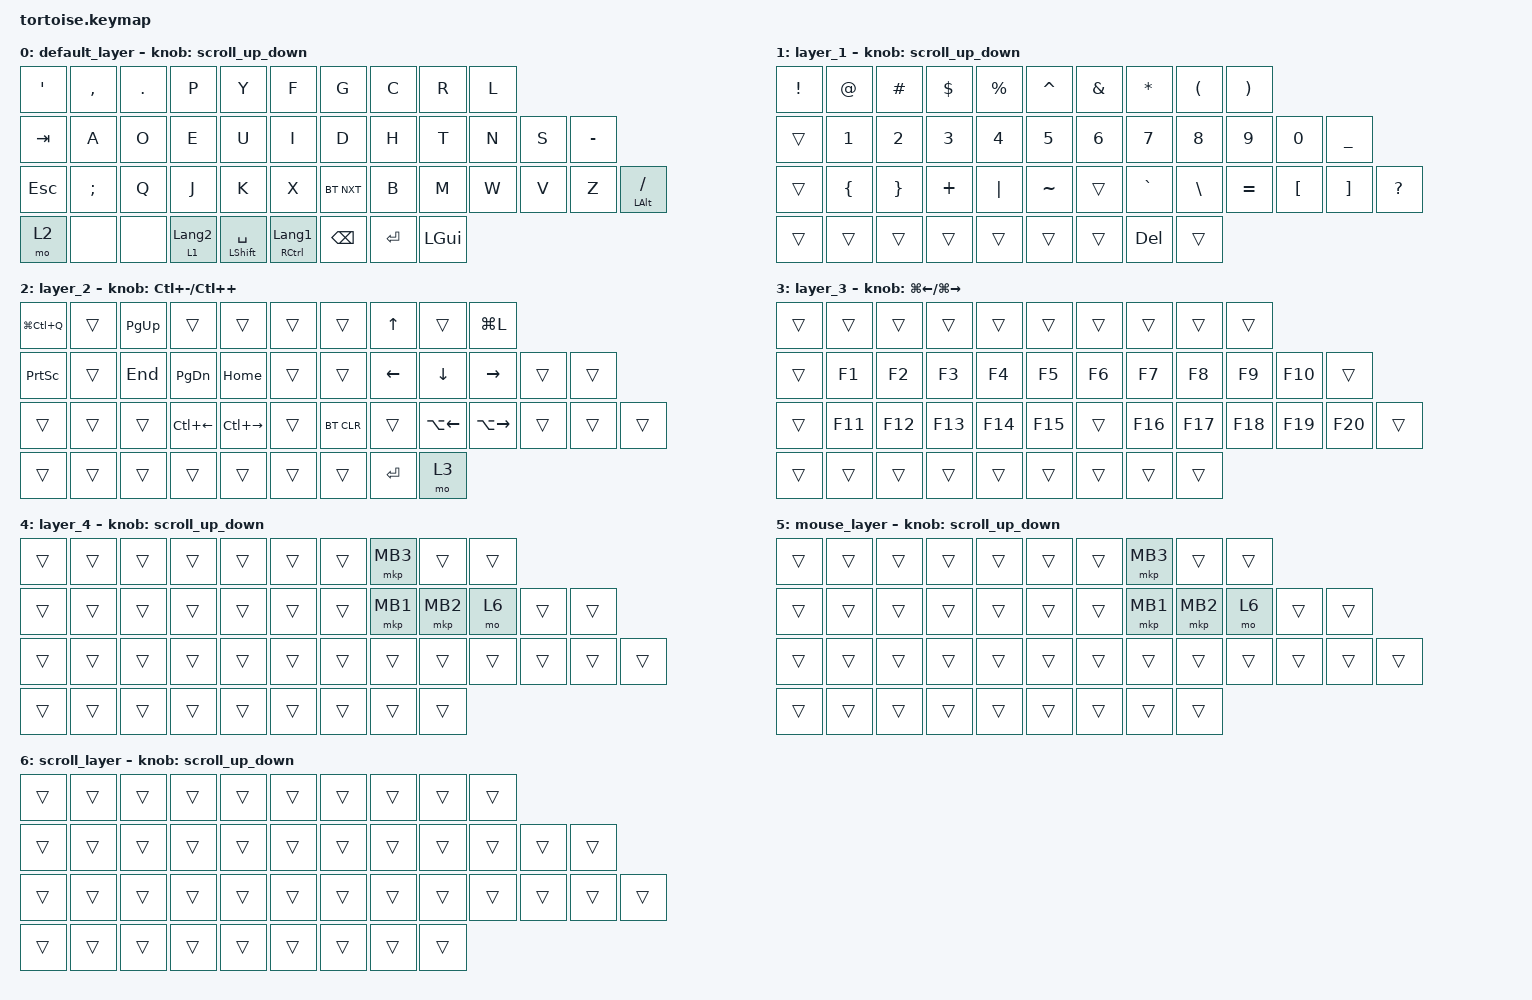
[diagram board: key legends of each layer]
#include <input/processors.dtsi>
#include <dt-bindings/zmk/input_transform.h>
#include <zephyr/dt-bindings/input/input-event-codes.h>
#include <behaviors.dtsi>
#include <dt-bindings/zmk/bt.h>
#include <dt-bindings/zmk/keys.h>
#include <dt-bindings/zmk/pointing.h>

#define ZMK_POINTING_DEFAULT_SCRL_VAL 150
#define ZMK_POINTING_DEFAULT_MOVE_VAL 1000

&mt {
    flavor = "balanced";
    quick-tap-ms = <0>;
};

/ {
    combos { compatible = "zmk,combos"; };

    behaviors {
        scroll_up_down: behavior_sensor_rotate_as_mouse_wheel {
            compatible = "zmk,behavior-sensor-rotate";
            #sensor-binding-cells = <0>;
            bindings = <&msc SCRL_UP>, <&msc SCRL_DOWN>;

            tap-ms = <20>;
        };

        zoom_in_out: behavior_sensor_rotate_as_zoom {
            compatible = "zmk,behavior-sensor-rotate";
            #sensor-binding-cells = <0>;
            bindings = <&kp LC(PLUS)>, <&kp LC(MINUS)>;

            tap-ms = <20>;
        };
    };

    keymap {
        compatible = "zmk,keymap";

        default_layer {
            bindings = <
&kp APOSTROPHE  &kp COMMA      &kp DOT  &kp P             &kp Y                 &kp F                         &kp G          &kp C      &kp R         &kp L
&kp TAB         &kp A          &kp O    &kp E             &kp U                 &kp I                         &kp D          &kp H      &kp T         &kp N  &kp S  &kp MINUS
&kp ESCAPE      &kp SEMICOLON  &kp Q    &kp J             &kp K                 &kp X                         &bt BT_NXT     &kp B      &kp M         &kp W  &kp V  &kp Z      &mt LEFT_ALT SLASH
&mo 2           &none          &none    &lt 1 LANGUAGE_2  &mt LEFT_SHIFT SPACE  &mt RIGHT_CONTROL LANGUAGE_1  &kp BACKSPACE  &kp ENTER  &kp LEFT_GUI
            >;

            sensor-bindings = <&scroll_up_down>;
        };

        layer_1 {
            bindings = <
&kp EXCLAMATION  &kp AT_SIGN     &kp POUND        &kp DOLLAR    &kp PERCENT   &kp CARET     &kp AMPERSAND  &kp ASTERISK  &kp LEFT_PARENTHESIS  &kp RIGHT_PARENTHESIS
&trans           &kp NUMBER_1    &kp NUMBER_2     &kp NUMBER_3  &kp NUMBER_4  &kp NUMBER_5  &kp NUMBER_6   &kp NUMBER_7  &kp NUMBER_8          &kp NUMBER_9           &kp NUMBER_0      &kp UNDERSCORE
&trans           &kp LEFT_BRACE  &kp RIGHT_BRACE  &kp PLUS      &kp PIPE      &kp TILDE     &trans         &kp GRAVE     &kp BACKSLASH         &kp EQUAL              &kp LEFT_BRACKET  &kp RIGHT_BRACKET  &kp QUESTION
&trans           &trans          &trans           &trans        &trans        &trans        &trans         &kp DELETE    &trans
            >;

            sensor-bindings = <&scroll_up_down>;
        };

        layer_2 {
            bindings = <
&kp LG(LC(Q))    &trans  &kp PAGE_UP  &trans              &trans               &trans  &trans      &kp UP_ARROW    &trans              &kp LG(L)
&kp PRINTSCREEN  &trans  &kp END      &kp PAGE_DOWN       &kp HOME             &trans  &trans      &kp LEFT_ARROW  &kp DOWN_ARROW      &kp RIGHT            &trans  &trans
&trans           &trans  &trans       &kp LC(LEFT_ARROW)  &kp LC(RIGHT_ARROW)  &trans  &bt BT_CLR  &trans          &kp LA(LEFT_ARROW)  &kp LA(RIGHT_ARROW)  &trans  &trans  &trans
&trans           &trans  &trans       &trans              &trans               &trans  &trans      &kp ENTER       &mo 3
            >;

            sensor-bindings = <&inc_dec_kp LC(MINUS) LC(PLUS)>;
        };

        layer_3 {
            bindings = <
&trans  &trans   &trans   &trans   &trans   &trans   &trans  &trans   &trans   &trans
&trans  &kp F1   &kp F2   &kp F3   &kp F4   &kp F5   &kp F6  &kp F7   &kp F8   &kp F9   &kp F10  &trans
&trans  &kp F11  &kp F12  &kp F13  &kp F14  &kp F15  &trans  &kp F16  &kp F17  &kp F18  &kp F19  &kp F20  &trans
&trans  &trans   &trans   &trans   &trans   &trans   &trans  &trans   &trans
            >;

            sensor-bindings = <&inc_dec_kp LG(LEFT_ARROW) LG(RIGHT)>;
        };

        layer_4 {
            bindings = <
&trans  &trans  &trans  &trans  &trans  &trans  &trans  &mkp MB3  &trans    &trans
&trans  &trans  &trans  &trans  &trans  &trans  &trans  &mkp MB1  &mkp MB2  &mo 6   &trans  &trans
&trans  &trans  &trans  &trans  &trans  &trans  &trans  &trans    &trans    &trans  &trans  &trans  &trans
&trans  &trans  &trans  &trans  &trans  &trans  &trans  &trans    &trans
            >;

            sensor-bindings = <&scroll_up_down>;
        };

        mouse_layer {
            bindings = <
&trans  &trans  &trans  &trans  &trans  &trans  &trans  &mkp MB3  &trans    &trans
&trans  &trans  &trans  &trans  &trans  &trans  &trans  &mkp MB1  &mkp MB2  &mo 6   &trans  &trans
&trans  &trans  &trans  &trans  &trans  &trans  &trans  &trans    &trans    &trans  &trans  &trans  &trans
&trans  &trans  &trans  &trans  &trans  &trans  &trans  &trans    &trans
            >;

            sensor-bindings = <&scroll_up_down>;
        };

        scroll_layer {
            bindings = <
&trans  &trans  &trans  &trans  &trans  &trans  &trans  &trans  &trans  &trans
&trans  &trans  &trans  &trans  &trans  &trans  &trans  &trans  &trans  &trans  &trans  &trans
&trans  &trans  &trans  &trans  &trans  &trans  &trans  &trans  &trans  &trans  &trans  &trans  &trans
&trans  &trans  &trans  &trans  &trans  &trans  &trans  &trans  &trans
            >;

            sensor-bindings = <&scroll_up_down>;
        };
    };
};
